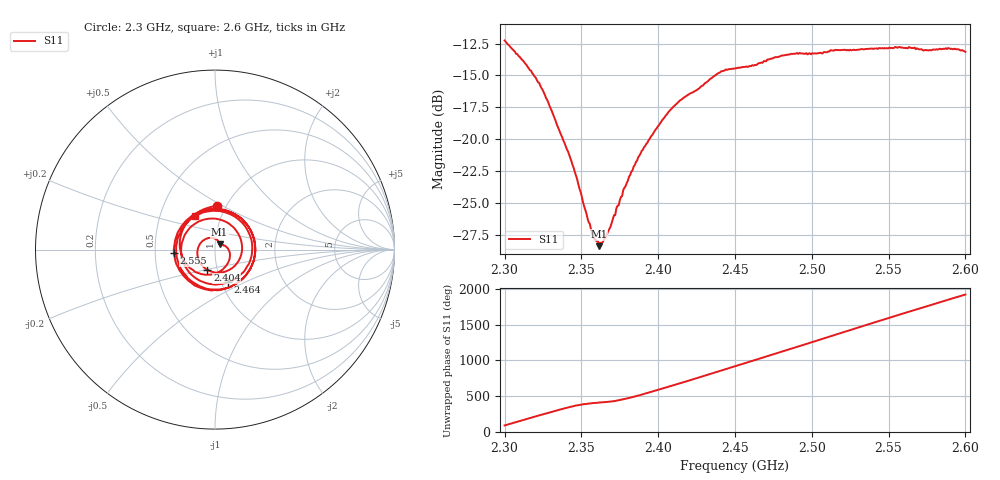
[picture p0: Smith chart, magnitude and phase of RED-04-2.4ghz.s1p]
! NanoVNA-App
! Date: 2026-05-22 18:33:47
! Start: 2.3GHz Stop: 2.6GHz Points: 401
! S-Parameter data: F S11
# Hz S RI R 50
!  Frequency  S11_Real  S11_Imag
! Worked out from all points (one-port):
!   401 points, 2.3 GHz to 2.6 GHz, reference 50 ohm
!   lowest |S11| = -28.4 dB at 2.361 GHz (marker M1), VSWR 1.08, Z = 52.5 + j2.99 ohm
!   |S11| at or under -10 dB: start of sweep to end of sweep
!   S11 on the Smith chart (normalised r, x): 2.3 GHz: 0.91, +0.47; 2.404 GHz: 0.90, -0.21; 2.464 GHz: 1.07, -0.41; 2.555 GHz: 0.63, -0.03; 2.6 GHz: 0.75, +0.30
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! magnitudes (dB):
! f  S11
! 2.3 GHz  -12.3
! 2.313 GHz  -14.0
! 2.322 GHz  -15.5
! 2.327 GHz  -16.8
! 2.337 GHz  -19.9
! 2.342 GHz  -21.2
! 2.346 GHz  -22.6
! 2.353 GHz  -25.8
! 2.357 GHz  -27.5
! 2.358 GHz  -27.8
! 2.361 GHz  -28.4
! 2.365 GHz  -27.9
! 2.368 GHz  -27.2
! 2.375 GHz  -24.8
! 2.381 GHz  -23.0
! 2.388 GHz  -21.3
! 2.404 GHz  -18.4
! 2.413 GHz  -17.2
! 2.439 GHz  -14.8
! 2.45 GHz  -14.5
! 2.464 GHz  -14.2
! 2.487 GHz  -13.3
! 2.525 GHz  -13.0
! 2.555 GHz  -12.8
! 2.562 GHz  -12.9
! 2.575 GHz  -13.0
! 2.59 GHz  -12.9
! 2.6 GHz  -13.2
